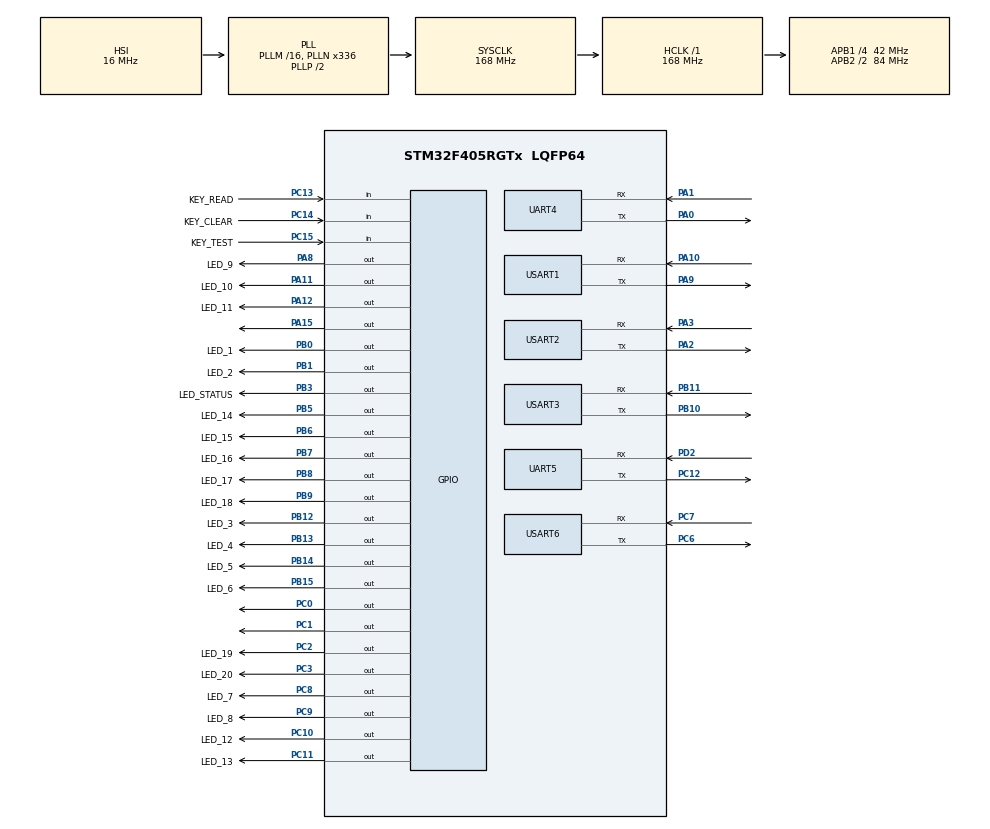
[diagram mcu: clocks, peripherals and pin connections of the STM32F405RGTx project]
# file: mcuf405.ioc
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FREERTOS.BinarySemaphores01=myBinarySem01,Static,myBinarySem01ControlBlock
FREERTOS.Tasks01=defaultTask,0,128,StartDefaultTask,Default,NULL,Dynamic,NULL,NULL
FREERTOS.configTIMER_TASK_PRIORITY=6
FREERTOS.configTOTAL_HEAP_SIZE=65536
FREERTOS.configUSE_TIMERS=1
Mcu.Family=STM32F4
Mcu.Name=STM32F405RGTx
Mcu.Package=LQFP64
NVIC.PriorityGroup=NVIC_PRIORITYGROUP_4
NVIC.UART4_IRQn=true\:5\:0\:false\:false\:true\:true\:true\:true\:true
NVIC.UART5_IRQn=true\:5\:0\:false\:false\:true\:true\:true\:true\:true
NVIC.USART1_IRQn=true\:5\:0\:false\:false\:true\:true\:true\:true\:true
NVIC.USART2_IRQn=true\:5\:0\:false\:false\:true\:true\:true\:true\:true
NVIC.USART3_IRQn=true\:5\:0\:false\:false\:true\:true\:true\:true\:true
NVIC.USART6_IRQn=true\:5\:0\:false\:false\:true\:true\:true\:true\:true
PA0-WKUP.GPIO_PuPd=GPIO_PULLUP
PA0-WKUP.Mode=Asynchronous
PA0-WKUP.Signal=UART4_TX
PA1.GPIO_PuPd=GPIO_PULLUP
PA1.Mode=Asynchronous
PA1.Signal=UART4_RX
PA10.GPIO_PuPd=GPIO_PULLUP
PA10.Mode=Asynchronous
PA10.Signal=USART1_RX
PA11.GPIO_Label=LED_10
PA11.Signal=GPIO_Output
PA12.GPIO_Label=LED_11
PA12.Signal=GPIO_Output
PA15.Signal=GPIO_Output
PA2.GPIO_PuPd=GPIO_PULLUP
PA2.Mode=Asynchronous
PA2.Signal=USART2_TX
PA3.GPIO_PuPd=GPIO_PULLUP
PA3.Mode=Asynchronous
PA3.Signal=USART2_RX
PA8.GPIO_Label=LED_9
PA8.Signal=GPIO_Output
PA9.GPIO_PuPd=GPIO_PULLUP
PA9.Mode=Asynchronous
PA9.Signal=USART1_TX
PB0.GPIO_Label=LED_1
PB0.GPIO_ModeDefaultOutputPP=GPIO_MODE_OUTPUT_PP
PB0.Signal=GPIO_Output
PB1.GPIO_Label=LED_2
PB1.Signal=GPIO_Output
PB10.GPIO_PuPd=GPIO_PULLUP
PB10.Mode=Asynchronous
PB10.Signal=USART3_TX
PB11.GPIO_PuPd=GPIO_PULLUP
PB11.Mode=Asynchronous
PB11.Signal=USART3_RX
PB12.GPIO_Label=LED_3
PB12.Signal=GPIO_Output
PB13.GPIO_Label=LED_4
PB13.Signal=GPIO_Output
PB14.GPIO_Label=LED_5
PB14.Signal=GPIO_Output
PB15.GPIO_Label=LED_6
PB15.Signal=GPIO_Output
PB3.GPIO_Label=LED_STATUS
PB3.Signal=GPIO_Output
PB5.GPIO_Label=LED_14
PB5.Signal=GPIO_Output
PB6.GPIO_Label=LED_15
PB6.Signal=GPIO_Output
PB7.GPIO_Label=LED_16
PB7.Signal=GPIO_Output
PB8.GPIO_Label=LED_17
PB8.Signal=GPIO_Output
PB9.GPIO_Label=LED_18
PB9.Signal=GPIO_Output
PC0.Signal=GPIO_Output
PC1.Signal=GPIO_Output
PC10.GPIO_Label=LED_12
PC10.Signal=GPIO_Output
PC11.GPIO_Label=LED_13
PC11.Signal=GPIO_Output
PC12.GPIO_PuPd=GPIO_PULLUP
PC12.Mode=Asynchronous
PC12.Signal=UART5_TX
PC13-ANTI_TAMP.GPIO_Label=KEY_READ
PC13-ANTI_TAMP.GPIO_PuPd=GPIO_PULLUP
PC13-ANTI_TAMP.Signal=GPIO_Input
PC14-OSC32_IN.GPIO_Label=KEY_CLEAR
PC14-OSC32_IN.GPIO_PuPd=GPIO_PULLUP
PC14-OSC32_IN.Signal=GPIO_Input
PC15-OSC32_OUT.GPIO_Label=KEY_TEST
PC15-OSC32_OUT.GPIO_PuPd=GPIO_PULLUP
PC15-OSC32_OUT.Signal=GPIO_Input
PC2.GPIO_Label=LED_19
PC2.Signal=GPIO_Output
PC3.GPIO_Label=LED_20
PC3.Signal=GPIO_Output
PC6.GPIO_PuPd=GPIO_PULLUP
PC6.Mode=Asynchronous
PC6.Signal=USART6_TX
PC7.GPIO_PuPd=GPIO_PULLUP
PC7.Mode=Asynchronous
PC7.Signal=USART6_RX
PC8.GPIO_Label=LED_7
PC8.Signal=GPIO_Output
PC9.GPIO_Label=LED_8
PC9.Signal=GPIO_Output
PD2.GPIO_PuPd=GPIO_PULLUP
PD2.Mode=Asynchronous
PD2.Signal=UART5_RX
PH0-OSC_IN.Mode=HSE-External-Oscillator
PH0-OSC_IN.Signal=RCC_OSC_IN
PH1-OSC_OUT.Mode=HSE-External-Oscillator
PH1-OSC_OUT.Signal=RCC_OSC_OUT
ProjectManager.HeapSize=0x800
ProjectManager.StackSize=0x800
ProjectManager.TargetToolchain=MDK-ARM V5
RCC.48MHZClocksFreq_Value=84000000
RCC.AHBFreq_Value=168000000
RCC.APB1CLKDivider=RCC_HCLK_DIV4
RCC.APB1Freq_Value=42000000
RCC.APB1TimFreq_Value=84000000
RCC.APB2CLKDivider=RCC_HCLK_DIV2
RCC.APB2Freq_Value=84000000
RCC.APB2TimFreq_Value=168000000
RCC.CortexFreq_Value=168000000
RCC.HCLKFreq_Value=168000000
RCC.HSE_VALUE=10000000
RCC.HSI_VALUE=16000000
RCC.LSE_VALUE=32768
RCC.PLLN=336
RCC.SYSCLKFreq_VALUE=168000000
RCC.SYSCLKSource=RCC_SYSCLKSOURCE_PLLCLK
RCC.VCOOutputFreq_Value=336000000
UART4.VirtualMode=Asynchronous
UART5.VirtualMode=Asynchronous
USART1.VirtualMode=VM_ASYNC
USART2.VirtualMode=VM_ASYNC
USART3.VirtualMode=VM_ASYNC
USART6.VirtualMode=VM_ASYNC
VP_FREERTOS_VS_CMSIS_V1.Mode=CMSIS_V1
board=custom

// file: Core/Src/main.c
/* USER CODE BEGIN Header */
/**
  ******************************************************************************
  * @file           : main.c
  * @brief          : Main program body
  ******************************************************************************
  * @attention
  *
  * Copyright (c) 2023 STMicroelectronics.
  * All rights reserved.
  *
  * This software is licensed under terms that can be found in the LICENSE file
  * in the root directory of this software component.
  * If no LICENSE file comes with this software, it is provided AS-IS.
  *
  ******************************************************************************
  */
/* USER CODE END Header */
#include "main.h"
#include "cmsis_os.h"
#include "usart.h"
#include "gpio.h"

/* USER CODE BEGIN Includes */
#include "stdio.h"
/* USER CODE END Includes */

void SystemClock_Config(void);
void MX_FREERTOS_Init(void);

/* USER CODE BEGIN 0 */
//加入以下代码,支持printf函数,而不�?要�?�择use MicroLIB
#if 1
#pragma import(__use_no_semihosting)
//标准库需要的支持函数
struct __FILE
{
    int handle;
};

FILE __stdout;
//定义_sys_exit()以避免使用半主机模式
void _sys_exit(int x)
{
    x = x;
}
//__use_no_semihosting was requested, but _ttywrch was
void _ttywrch(int ch)
{
    ch = ch;
}
//重定义fputc函数
int fputc(int ch, FILE *f)
{
    return ch;
}
#endif
/* USER CODE END 0 */

int main(void)
{

  /* MCU Configuration--------------------------------------------------------*/

  /* Reset of all peripherals, Initializes the Flash interface and the Systick. */
  HAL_Init();

  /* Configure the system clock */
  SystemClock_Config();

  /* Initialize all configured peripherals */
  MX_GPIO_Init();
  MX_USART1_UART_Init();
  MX_UART4_Init();
  MX_USART3_UART_Init();
  MX_UART5_Init();
  MX_USART2_UART_Init();
  MX_USART6_UART_Init();

  /* Call init function for freertos objects (in freertos.c) */
  MX_FREERTOS_Init();

  /* Start scheduler */
  osKernelStart();

  /* We should never get here as control is now taken by the scheduler */
  /* Infinite loop */
  while (1)
  {

  }
}

void SystemClock_Config(void)
{
  RCC_OscInitTypeDef RCC_OscInitStruct = {0};
  RCC_ClkInitTypeDef RCC_ClkInitStruct = {0};

  /** Configure the main internal regulator output voltage
  */
  __HAL_RCC_PWR_CLK_ENABLE();
  __HAL_PWR_VOLTAGESCALING_CONFIG(PWR_REGULATOR_VOLTAGE_SCALE1);

  /** Initializes the RCC Oscillators according to the specified parameters
  * in the RCC_OscInitTypeDef structure.
  */
  RCC_OscInitStruct.OscillatorType = RCC_OSCILLATORTYPE_HSI;
  RCC_OscInitStruct.HSIState = RCC_HSI_ON;
  RCC_OscInitStruct.HSICalibrationValue = RCC_HSICALIBRATION_DEFAULT;
  RCC_OscInitStruct.PLL.PLLState = RCC_PLL_ON;
  RCC_OscInitStruct.PLL.PLLSource = RCC_PLLSOURCE_HSI;
  RCC_OscInitStruct.PLL.PLLM = 16;
  RCC_OscInitStruct.PLL.PLLN = 336;
  RCC_OscInitStruct.PLL.PLLP = RCC_PLLP_DIV2;
  RCC_OscInitStruct.PLL.PLLQ = 4;
  if (HAL_RCC_OscConfig(&RCC_OscInitStruct) != HAL_OK)
  {
    Error_Handler();
  }

  /** Initializes the CPU, AHB and APB buses clocks
  */
  RCC_ClkInitStruct.ClockType = RCC_CLOCKTYPE_HCLK|RCC_CLOCKTYPE_SYSCLK
                              |RCC_CLOCKTYPE_PCLK1|RCC_CLOCKTYPE_PCLK2;
  RCC_ClkInitStruct.SYSCLKSource = RCC_SYSCLKSOURCE_PLLCLK;
  RCC_ClkInitStruct.AHBCLKDivider = RCC_SYSCLK_DIV1;
  RCC_ClkInitStruct.APB1CLKDivider = RCC_HCLK_DIV4;
  RCC_ClkInitStruct.APB2CLKDivider = RCC_HCLK_DIV2;

  if (HAL_RCC_ClockConfig(&RCC_ClkInitStruct, FLASH_LATENCY_5) != HAL_OK)
  {
    Error_Handler();
  }
}

void Error_Handler(void)
{
  __disable_irq();
  while (1)
  {
  }
}

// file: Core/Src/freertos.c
/* USER CODE BEGIN Header */
/**
  ******************************************************************************
  * File Name          : freertos.c
  * Description        : Code for freertos applications
  ******************************************************************************
  * @attention
  *
  * Copyright (c) 2023 STMicroelectronics.
  * All rights reserved.
  *
  * This software is licensed under terms that can be found in the LICENSE file
  * in the root directory of this software component.
  * If no LICENSE file comes with this software, it is provided AS-IS.
  *
  ******************************************************************************
  */
/* USER CODE END Header */

#include "FreeRTOS.h"
#include "task.h"
#include "main.h"
#include "cmsis_os.h"

/* USER CODE BEGIN Includes */
#include "usart.h"
#include "userTask.h"
/* USER CODE END Includes */

osThreadId defaultTaskHandle;
osSemaphoreId myBinarySem01Handle;
osStaticSemaphoreDef_t myBinarySem01ControlBlock;

void StartDefaultTask(void const * argument);

void MX_FREERTOS_Init(void); /* (MISRA C 2004 rule 8.1) */

/* GetIdleTaskMemory prototype (linked to static allocation support) */
void vApplicationGetIdleTaskMemory( StaticTask_t **ppxIdleTaskTCBBuffer, StackType_t **ppxIdleTaskStackBuffer, uint32_t *pulIdleTaskStackSize );

/* GetTimerTaskMemory prototype (linked to static allocation support) */
void vApplicationGetTimerTaskMemory( StaticTask_t **ppxTimerTaskTCBBuffer, StackType_t **ppxTimerTaskStackBuffer, uint32_t *pulTimerTaskStackSize );

/* USER CODE BEGIN GET_IDLE_TASK_MEMORY */
static StaticTask_t xIdleTaskTCBBuffer;
static StackType_t xIdleStack[configMINIMAL_STACK_SIZE];

void vApplicationGetIdleTaskMemory( StaticTask_t **ppxIdleTaskTCBBuffer, StackType_t **ppxIdleTaskStackBuffer, uint32_t *pulIdleTaskStackSize )
{
  *ppxIdleTaskTCBBuffer = &xIdleTaskTCBBuffer;
  *ppxIdleTaskStackBuffer = &xIdleStack[0];
  *pulIdleTaskStackSize = configMINIMAL_STACK_SIZE;
  /* place for user code */
}
/* USER CODE END GET_IDLE_TASK_MEMORY */

/* USER CODE BEGIN GET_TIMER_TASK_MEMORY */
static StaticTask_t xTimerTaskTCBBuffer;
static StackType_t xTimerStack[configTIMER_TASK_STACK_DEPTH];

void vApplicationGetTimerTaskMemory( StaticTask_t **ppxTimerTaskTCBBuffer, StackType_t **ppxTimerTaskStackBuffer, uint32_t *pulTimerTaskStackSize )
{
  *ppxTimerTaskTCBBuffer = &xTimerTaskTCBBuffer;
  *ppxTimerTaskStackBuffer = &xTimerStack[0];
  *pulTimerTaskStackSize = configTIMER_TASK_STACK_DEPTH;
  /* place for user code */
}
/* USER CODE END GET_TIMER_TASK_MEMORY */

void MX_FREERTOS_Init(void) {

  /* Create the semaphores(s) */
  /* definition and creation of myBinarySem01 */
  osSemaphoreStaticDef(myBinarySem01, &myBinarySem01ControlBlock);
  myBinarySem01Handle = osSemaphoreCreate(osSemaphore(myBinarySem01), 1);

  /* Create the thread(s) */
  /* definition and creation of defaultTask */
  osThreadDef(defaultTask, StartDefaultTask, osPriorityNormal, 0, 128);
  defaultTaskHandle = osThreadCreate(osThread(defaultTask), NULL);

}

void StartDefaultTask(void const * argument)
{
  vTaskDelay(6000);
  /* USER CODE BEGIN StartDefaultTask */
  taskENTER_CRITICAL();
  //PC talk task
    xTaskCreate((TaskFunction_t )PermierTask,
                (const char*    )"PCTalk",
                (uint16_t       )PCTALK_STK_SIZE,
                (void*          )NULL,
                (UBaseType_t    )PCTALK_TASK_PRIO,
                (TaskHandle_t*  )&PCTalk_Handler);

    xTaskCreate((TaskFunction_t )ShellTask,
              (const char*    )"shell",
              (uint16_t       )SHELL_STK_SIZE,
              (void*          )NULL,
              (UBaseType_t    )SHELL_TASK_PRIO,
              (TaskHandle_t*  )&Shell_Handler);
  //shelltask
  taskEXIT_CRITICAL();
  vTaskDelete(NULL);
  while(1);
  /* USER CODE END StartDefaultTask */
}
